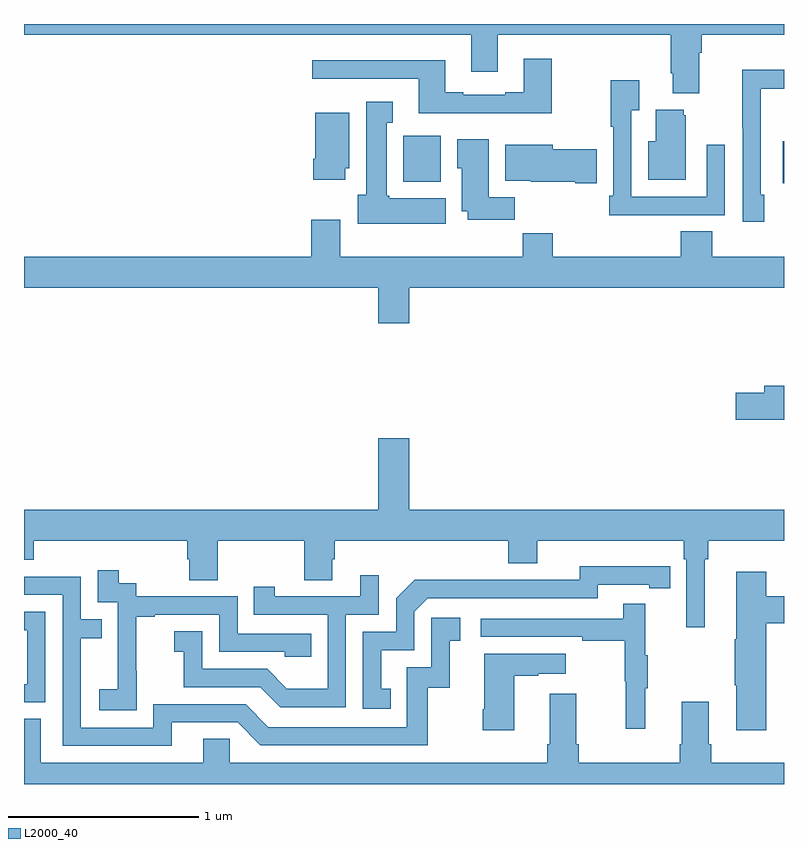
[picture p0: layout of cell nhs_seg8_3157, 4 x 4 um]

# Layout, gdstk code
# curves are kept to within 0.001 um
import gdstk
lib = gdstk.Library(unit=1e-6, precision=1e-09)
def R(c, l, rs):  # rectangles x0, y0, x1, y1
    for r in rs: c.add(gdstk.rectangle(r[:2], r[2:], *l))
def P(c, l, *ps):  # polygons
    for p in ps: c.add(gdstk.Polygon(p, *l))
L2000_40 = (2000, 40)

nhs_seg8_3157 = lib.new_cell('nhs_seg8_3157')
R(nhs_seg8_3157, L2000_40, [(310.994,1105.063,311,1105.282), (308.996,1105.07,309.193,1105.312)])
P(nhs_seg8_3157, L2000_40, [(310.555,1105.748),(310.568,1105.748),(310.568,1105.844),(311,1105.844),(311,1105.9),(307,1105.9),(307,1105.844),(309.353,1105.844),(309.353,1105.65),(309.493,1105.65),(309.493,1105.844),(310.403,1105.844),(310.403,1105.642),(310.415,1105.642),(310.415,1105.535),(310.555,1105.535)],
  [(309.777,1105.717),(309.629,1105.717),(309.629,1105.54),(309.533,1105.54),(309.533,1105.527),(309.313,1105.527),(309.313,1105.54),(309.217,1105.54),(309.217,1105.708),(308.517,1105.708),(308.517,1105.611),(309.077,1105.611),(309.077,1105.43),(309.777,1105.43)],
  [(310.897,1105.002),(310.878,1105.002),(310.878,1105.56),(311,1105.56),(311,1105.658),(310.78,1105.658),(310.78,1105.351),(310.782,1105.351),(310.782,1104.858),(310.897,1104.858)],
  [(310.373,1104.894),(310.689,1104.894),(310.689,1105.264),(310.593,1105.264),(310.593,1104.99),(310.197,1104.99),(310.197,1105.447),(310.237,1105.447),(310.237,1105.603),(310.089,1105.603),(310.089,1105.358),(310.101,1105.358),(310.101,1104.997),(310.081,1104.997),(310.081,1104.893),(310.373,1104.893)],
  [(309.22,1104.982),(308.922,1104.982),(308.922,1104.996),(308.908,1104.996),(308.908,1105.379),(308.941,1105.379),(308.941,1105.492),(308.801,1105.492),(308.801,1105.002),(308.756,1105.002),(308.756,1104.848),(309.22,1104.848)],
  [(310.483,1105.419),(310.472,1105.419),(310.472,1105.45),(310.325,1105.45),(310.325,1105.282),(310.286,1105.282),(310.286,1105.079),(310.483,1105.079)],
  [(308.692,1105.14),(308.713,1105.14),(308.713,1105.432),(308.534,1105.432),(308.534,1105.192),(308.522,1105.192),(308.522,1105.08),(308.692,1105.08)],
  [(309.584,1104.988),(309.445,1104.988),(309.445,1105.294),(309.281,1105.294),(309.281,1105.14),(309.305,1105.14),(309.305,1104.914),(309.335,1104.914),(309.335,1104.87),(309.584,1104.87)],
  [(310.015,1105.241),(309.784,1105.241),(309.784,1105.264),(309.533,1105.264),(309.533,1105.076),(309.666,1105.076),(309.666,1105.07),(309.902,1105.07),(309.902,1105.063),(310.015,1105.063)],
  [(309.028,1104.512),(311,1104.512),(311,1104.676),(310.622,1104.676),(310.622,1104.809),(310.457,1104.809),(310.457,1104.676),(309.782,1104.676),(309.782,1104.8),(309.625,1104.8),(309.625,1104.676),(308.665,1104.676),(308.665,1104.871),(308.513,1104.871),(308.513,1104.676),(307,1104.676),(307,1104.512),(308.864,1104.512),(308.864,1104.324),(309.028,1104.324)],
  [(311,1103.996),(310.895,1103.996),(310.895,1103.96),(310.746,1103.96),(310.746,1103.818),(311,1103.818)],
  [(310.582,1103.084),(310.601,1103.084),(310.601,1103.18),(311,1103.18),(311,1103.344),(309.028,1103.344),(309.028,1103.719),(308.864,1103.719),(308.864,1103.344),(307,1103.344),(307,1103.081),(307.052,1103.081),(307.052,1103.18),(307.859,1103.18),(307.859,1103.082),(307.871,1103.082),(307.871,1102.972),(308.019,1102.972),(308.019,1103.18),(308.476,1103.18),(308.476,1102.972),(308.623,1102.972),(308.623,1103.082),(308.636,1103.082),(308.636,1103.18),(309.548,1103.18),(309.548,1103.063),(309.7,1103.063),(309.7,1103.18),(310.472,1103.18),(310.472,1103.084),(310.485,1103.084),(310.485,1102.725),(310.582,1102.725)],
  [(308.93,1102.401),(308.881,1102.401),(308.881,1102.605),(309.054,1102.605),(309.054,1102.806),(309.126,1102.878),(310.02,1102.878),(310.02,1102.95),(310.292,1102.95),(310.292,1102.93),(310.4,1102.93),(310.4,1103.046),(309.924,1103.047),(309.924,1102.974),(309.464,1102.974),(309.464,1102.976),(309.056,1102.976),(308.958,1102.878),(308.958,1102.701),(308.784,1102.701),(308.784,1102.296),(308.93,1102.296)],
  [(307.593,1102.495),(307.592,1102.495),(307.592,1102.779),(307.687,1102.779),(307.687,1102.791),(308.028,1102.791),(308.028,1102.596),(308.373,1102.596),(308.373,1102.569),(308.513,1102.569),(308.513,1102.692),(308.124,1102.692),(308.124,1102.887),(307.59,1102.887),(307.59,1102.956),(307.498,1102.956),(307.498,1103.026),(307.389,1103.026),(307.389,1102.857),(307.494,1102.857),(307.494,1102.628),(307.493,1102.628),(307.493,1102.399),(307.395,1102.399),(307.395,1102.289),(307.593,1102.289)],
  [(310.907,1102.745),(311,1102.745),(311,1102.887),(310.907,1102.887),(310.907,1103.017),(310.748,1103.017),(310.748,1102.661),(310.741,1102.661),(310.741,1102.42),(310.748,1102.42),(310.748,1102.182),(310.907,1102.182)],
  [(308.694,1102.791),(308.868,1102.791),(308.868,1102.999),(308.771,1102.999),(308.771,1102.887),(308.32,1102.887),(308.32,1102.939),(308.209,1102.939),(308.209,1102.791),(308.598,1102.791),(308.598,1102.402),(308.384,1102.402),(308.28,1102.506),(307.938,1102.506),(307.938,1102.705),(307.791,1102.705),(307.791,1102.595),(307.84,1102.595),(307.84,1102.41),(308.243,1102.41),(308.348,1102.305),(308.694,1102.305)],
  [(307.777,1102.224),(308.124,1102.224),(308.244,1102.104),(309.124,1102.104),(309.124,1102.407),(309.242,1102.407),(309.242,1102.653),(309.295,1102.653),(309.295,1102.774),(309.144,1102.774),(309.144,1102.515),(309.015,1102.515),(309.015,1102.2),(308.286,1102.2),(308.166,1102.32),(307.68,1102.32),(307.68,1102.197),(307.299,1102.197),(307.299,1102.666),(307.409,1102.666),(307.409,1102.767),(307.299,1102.767),(307.299,1102.992),(307,1102.992),(307,1102.896),(307.203,1102.896),(307.203,1102.101),(307.777,1102.101)],
  [(310.271,1102.403),(310.282,1102.403),(310.282,1102.577),(310.271,1102.577),(310.271,1102.849),(310.153,1102.849),(310.153,1102.77),(309.405,1102.77),(309.405,1102.674),(309.937,1102.674),(309.937,1102.654),(310.161,1102.654),(310.161,1102.44),(310.168,1102.44),(310.168,1102.191),(310.271,1102.191)],
  [(307.113,1102.806),(307,1102.806),(307,1102.71),(307.017,1102.71),(307.017,1102.425),(307,1102.425),(307,1102.329),(307.113,1102.329)],
  [(309.58,1102.471),(309.707,1102.471),(309.707,1102.481),(309.85,1102.481),(309.85,1102.585),(309.422,1102.585),(309.422,1102.294),(309.415,1102.294),(309.415,1102.182),(309.58,1102.182)],
  [(311,1102.012),(310.616,1102.012),(310.616,1102.108),(310.603,1102.108),(310.603,1102.333),(310.463,1102.333),(310.463,1102.108),(310.451,1102.108),(310.451,1102.012),(309.92,1102.012),(309.92,1102.108),(309.907,1102.108),(309.907,1102.375),(309.767,1102.375),(309.767,1102.108),(309.755,1102.108),(309.755,1102.012),(308.082,1102.012),(308.082,1102.139),(307.943,1102.139),(307.943,1102.012),(307.087,1102.012),(307.087,1102.244),(307,1102.244),(307,1101.9),(311,1101.9)])

lib.write_gds('nhs_seg8_3157.gds')
